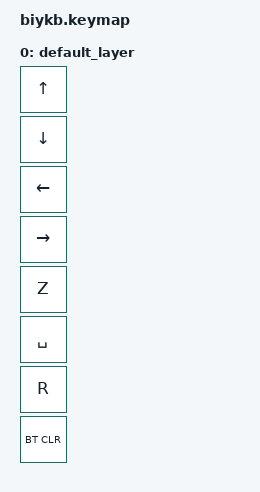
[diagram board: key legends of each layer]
#include <behaviors.dtsi>
#include <dt-bindings/zmk/keys.h>
#include <dt-bindings/zmk/bt.h>

/ {  
    keymap {
        compatible = "zmk,keymap";

        default_layer {
            bindings = <
                &kp UP_ARROW
                &kp DOWN_ARROW
                &kp LEFT_ARROW
                &kp RIGHT_ARROW
                &kp Z
                &kp SPACE
                &kp R
                &bt BT_CLR
            >;
        }; 
    };
};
